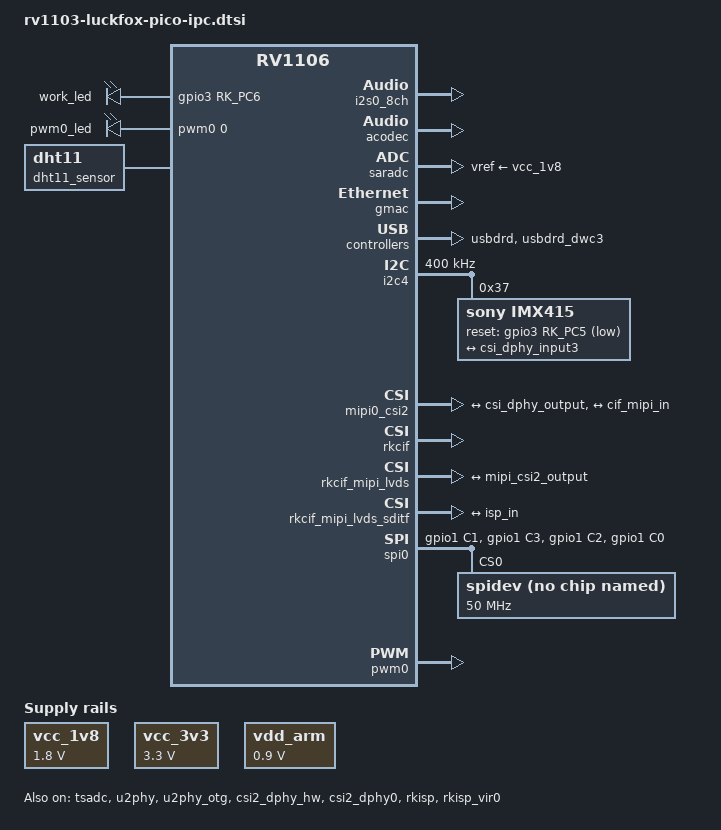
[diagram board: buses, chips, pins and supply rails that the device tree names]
// SPDX-License-Identifier: (GPL-2.0+ OR MIT)
/*
 * Copyright (c) 2022 Rockchip Electronics Co., Ltd.
 */
#include "rv1106-amp.dtsi"
#include <dt-bindings/pwm/pwm.h>

/ {
	chosen {
		bootargs = "earlycon=uart8250,mmio32,0xff4c0000 console=ttyFIQ0 root=/dev/mmcblk1p7 rootwait snd_soc_core.prealloc_buffer_size_kbytes=16 coherent_pool=0";
	};

	acodec_sound: acodec-sound {
		compatible = "simple-audio-card";
		simple-audio-card,name = "rv-acodec";
		simple-audio-card,format = "i2s";
		simple-audio-card,mclk-fs = <256>;
		simple-audio-card,cpu {
			sound-dai = <&i2s0_8ch>;
		};
		simple-audio-card,codec {
			sound-dai = <&acodec>;
		};
	};

	vcc_1v8: vcc-1v8 {
		compatible = "regulator-fixed";
		regulator-name = "vcc_1v8";
		regulator-always-on;
		regulator-boot-on;
		regulator-min-microvolt = <1800000>;
		regulator-max-microvolt = <1800000>;
	};

	vcc_3v3: vcc-3v3 {
		compatible = "regulator-fixed";
		regulator-name = "vcc_3v3";
		regulator-always-on;
		regulator-boot-on;
		regulator-min-microvolt = <3300000>;
		regulator-max-microvolt = <3300000>;
	};

	vdd_arm: vdd-arm {
		compatible = "regulator-fixed";
		regulator-name = "vdd_arm";
		regulator-min-microvolt = <900000>;
		regulator-max-microvolt = <900000>;
		regulator-always-on;
		regulator-boot-on;
	};
	leds: leds {
		compatible = "gpio-leds";
		work_led: work{
			gpios = <&gpio3 RK_PC6 GPIO_ACTIVE_HIGH>;
			linux,default-trigger = "activity";
			default-state = "on";
		};
	};

	/* PWM0 drives the second LED on GPIO1_PA2. */
	pwm_leds: pwm-leds {
		compatible = "pwm-leds";

		pwm0_led: pwm0-led {
			label = "pwm0_led";
			/* The SDK PWM header lacks PWM_POLARITY_NORMAL; normal is 0. */
			pwms = <&pwm0 0 1000000 0>;
			max-brightness = <255>;
			default-state = "off";
		};
	};

	// DHT11
	dht11_sensor {
		compatible = "dht11";
		pinctrl-names = "rockchip,camera_default";
		pinctrl-0 = <&gpio1_pc7>;

		dht11@1 {
			gpios = <&gpio1 RK_PC7 GPIO_ACTIVE_HIGH>;
			label = "dht11";
			linux,default-trigger = "humidity";
		};
	};
};

/***************************** AUDIO ********************************/
&i2s0_8ch {
	#sound-dai-cells = <0>;
	status = "okay";
};

&acodec {
	#sound-dai-cells = <0>;
	pa-ctl-gpios = <&gpio1 RK_PA1 GPIO_ACTIVE_HIGH>;
	status = "okay";
};

/***************************** CPU ********************************/
&cpu0 {
	cpu-supply = <&vdd_arm>;
};

/***************************** ADC ********************************/
&saradc {
	status = "okay";
	vref-supply = <&vcc_1v8>;
};
&tsadc {
	status = "okay";
};


/***************************** ETHERNET *****************************/
&gmac {
	/* Use the SoC-integrated PHY for wired Ethernet. */
	status = "okay";
};

/***************************** USB *********************************/
&u2phy {
	status = "okay";
};

&u2phy_otg {
	status = "okay";
};

&usbdrd {
	status = "okay";
};

&usbdrd_dwc3 {
	extcon = <&u2phy>;
	status = "okay";
};

/*****************************CSI ********************************/
/*
 * The input endpoints below represent the camera profiles supported by this
 * board's CSI graph. The build selects the attached sensor in the I2C nodes;
 * for the current IMX415 profile, its two-lane link is routed through input 3.
 */
&csi2_dphy_hw {
	status = "okay";
};

&csi2_dphy0 {
	status = "okay";

	ports {
		#address-cells = <1>;
		#size-cells = <0>;

		port@0 {
			reg = <0>;
			#address-cells = <1>;
			#size-cells = <0>;

			csi_dphy_input0: endpoint@0 {
				reg = <0>;
				remote-endpoint = <&sc3336_out>;
				data-lanes = <1 2>;
			};

			csi_dphy_input1: endpoint@1 {
				reg = <1>;
				remote-endpoint = <&sc4336_out>;
				data-lanes = <1 2>;
			};

			csi_dphy_input2: endpoint@2 {
				reg = <2>;
				remote-endpoint = <&sc530ai_out>;
				data-lanes = <1 2>;
			};

			csi_dphy_input3: endpoint@3 {
				reg = <3>;
				remote-endpoint = <&imx415_out>;
				/* The IMX415 profile uses D-PHY input 3 and two CSI-2 lanes. */
				data-lanes = <1 2>;
			};
		};

		port@1 {
			reg = <1>;
			#address-cells = <1>;
			#size-cells = <0>;

			csi_dphy_output: endpoint@0 {
				reg = <0>;
				remote-endpoint = <&mipi_csi2_input>;
			};
		};
	};
};

&i2c4 {
	status = "okay";
	clock-frequency = <400000>;
	pinctrl-names = "default";
	pinctrl-0 = <&i2c4m2_xfer>;

	/*
	 * These nodes describe alternative camera-module builds on the shared
	 * camera connector. The SC sensors share I2C address 0x30 and use the
	 * SoC-generated MIPI reference clock; the IMX415 is at 0x37 and uses its
	 * module oscillator. Enable the node matching the attached module. The
	 * sensor endpoints map to separate D-PHY inputs; IMX415 uses input 3.
	 */
	sc3336: sc3336@30 {
		compatible = "smartsens,sc3336";
		status = "disabled";
		reg = <0x30>;
		clocks = <&cru MCLK_REF_MIPI0>;
		clock-names = "xvclk";
		pwdn-gpios = <&gpio3 RK_PC5 GPIO_ACTIVE_HIGH>;
		pinctrl-names = "default";
		pinctrl-0 = <&mipi_refclk_out0>;
		rockchip,camera-module-index = <0>;
		rockchip,camera-module-facing = "back";
		rockchip,camera-module-name = "CMK-OT2119-PC1";
		rockchip,camera-module-lens-name = "30IRC-F16";
		port {
			sc3336_out: endpoint {
				remote-endpoint = <&csi_dphy_input0>;
				data-lanes = <1 2>;
			};
		};
	};

	sc4336: sc4336@30 {
		compatible = "smartsens,sc4336";
		status = "disabled";
		reg = <0x30>;
		clocks = <&cru MCLK_REF_MIPI0>;
		clock-names = "xvclk";
		pwdn-gpios = <&gpio3 RK_PC5 GPIO_ACTIVE_HIGH>;
		pinctrl-names = "default";
		pinctrl-0 = <&mipi_refclk_out0>;
		rockchip,camera-module-index = <0>;
		rockchip,camera-module-facing = "back";
		rockchip,camera-module-name = "OT01";
		rockchip,camera-module-lens-name = "40IRC_F16";
		port {
			sc4336_out: endpoint {
				remote-endpoint = <&csi_dphy_input1>;
				data-lanes = <1 2>;
			};
		};
	};

	sc530ai: sc530ai@30 {
		compatible = "smartsens,sc530ai";
		status = "disabled";
		reg = <0x30>;
		clocks = <&cru MCLK_REF_MIPI0>;
		clock-names = "xvclk";
		pwdn-gpios = <&gpio3 RK_PC5 GPIO_ACTIVE_HIGH>;
		pinctrl-names = "default";
		pinctrl-0 = <&mipi_refclk_out0>;
		rockchip,camera-module-index = <0>;
		rockchip,camera-module-facing = "back";
		rockchip,camera-module-name = "CMK-OT2115-PC1";
		rockchip,camera-module-lens-name = "30IRC-F16";
		port {
			sc530ai_out: endpoint {
				remote-endpoint = <&csi_dphy_input2>;
				data-lanes = <1 2>;
			};
		};
	};

	imx415: imx415@37 {
		compatible = "sony,imx415";
		status = "okay";
		reg = <0x37>;
		/* PC5 is the sensor's active-low reset; PC4 below is the shutter line. */
		reset-gpios = <&gpio3 RK_PC5 GPIO_ACTIVE_LOW>;
		pinctrl-names = "default";
		/*
		 * This module has an onboard oscillator, so deliberately omit the
		 * "clocks" / "clock-names" properties used by the SC sensor nodes.
		 * The IMX415 driver treats xvclk as optional and does not try to
		 * enable a SoC clock when it is absent.
		 *
		 * GPIO3_C4 means GPIO bank 3, port C, pin 4 (RK_PC4 in the pinctrl
		 * binding). It is muxed as a plain GPIO for the module's night-mode
		 * shutter switch (Linux global GPIO 116 on this SoC). The driver
		 * does not own or toggle it; userspace controls the shutter.
		 */
		pinctrl-0 = <&gpio3_c4>;
		rockchip,camera-module-index = <0>;
		rockchip,camera-module-facing = "back";
		/*
		 * rkaiq selects the IQ JSON using
		 * <sensor>_<camera-module-name>_<camera-module-lens-name>.json.
		 * Keep these exact identifiers from the working camera configuration:
		 * the long lens string is part of the IQ filename, not a typo to tidy.
		 * Together they select
		 * imx415_CMK-OT2022-PX1_IR0147-36IRC-8M-F20.json.
		 */
		rockchip,camera-module-name = "CMK-OT2022-PX1";
		rockchip,camera-module-lens-name = "IR0147-36IRC-8M-F20";
		port {
			imx415_out: endpoint {
				/* Matches the driver's two-lane mode table and D-PHY input 3. */
				remote-endpoint = <&csi_dphy_input3>;
				data-lanes = <1 2>;
			};
		};
	};
};

&mipi0_csi2 {
	status = "okay";

	ports {
		#address-cells = <1>;
		#size-cells = <0>;

		port@0 {
			reg = <0>;
			#address-cells = <1>;
			#size-cells = <0>;

			mipi_csi2_input: endpoint@1 {
				reg = <1>;
				remote-endpoint = <&csi_dphy_output>;
			};
		};

		port@1 {
			reg = <1>;
			#address-cells = <1>;
			#size-cells = <0>;

			mipi_csi2_output: endpoint@0 {
				reg = <0>;
				remote-endpoint = <&cif_mipi_in>;
			};
		};
	};
};

&rkcif {
	status = "okay";
};

&rkcif_mipi_lvds {
	status = "okay";

	pinctrl-names = "default";
	pinctrl-0 = <&mipi_pins>;
	port {
		/* MIPI CSI-2 endpoint */
		cif_mipi_in: endpoint {
			remote-endpoint = <&mipi_csi2_output>;
		};
	};
};

&rkcif_mipi_lvds_sditf {
	status = "okay";

	port {
		/* MIPI CSI-2 endpoint */
		mipi_lvds_sditf: endpoint {
			remote-endpoint = <&isp_in>;
		};
	};
};

&rkisp {
	status = "okay";
};

&rkisp_vir0 {
	status = "okay";

	port@0 {
		isp_in: endpoint {
			remote-endpoint = <&mipi_lvds_sditf>;
		};
	};
};


/***************************** PINCTRL ********************************/
// SPI
&spi0 {
	pinctrl-0 = <&spi0m0_clk &spi0m0_miso &spi0m0_mosi &spi0m0_cs0>;
	#address-cells = <1>;
	#size-cells = <0>;

	spidev@0 {
		compatible = "rockchip,spidev";
		spi-max-frequency = <50000000>;
		reg = <0>;
	};
	/*
	 * ST7789 display disabled while GPIO1_PA2 is used by PWM0.
	 * The display D/C signal was connected to GPIO1_PA2.
	 */
	/*
	fbtft@0 {
		compatible = "sitronix,st7789v";
		reg = <0>;
		spi-max-frequency = <20000000>;
		fps = <30>;
		buswidth = <8>;
		debug = <0x7>;
		led-gpios = <&gpio0 RK_PA4 GPIO_ACTIVE_HIGH>;//BL
		dc-gpios = <&gpio1 RK_PA2 GPIO_ACTIVE_HIGH>;//DC
		reset-gpios = <&gpio1 RK_PC3 GPIO_ACTIVE_LOW>;//RES
	};
	*/
};
// I2C
&i2c3 {
	pinctrl-0 = <&i2c3m1_xfer>;
};
&i2c0 {
	pinctrl-0 = <&i2c0m2_xfer>;
};
// UART
&uart3 {
	pinctrl-0 = <&uart3m1_xfer>;
};
&uart4 {
	pinctrl-0 = <&uart4m1_xfer>;
};
&uart5 {
	pinctrl-0 = <&uart5m0_xfer>;
};

// PWM
// PWM0 M0 uses GPIO1_PA2, which is connected to the second board LED.
&pwm0 {
	status = "okay";
	pinctrl-names = "active";
	pinctrl-0 = <&pwm0m0_pins>;
};
&pwm1 {
	pinctrl-0 = <&pwm1m0_pins>;
};
&pwm2 {
	pinctrl-0 = <&pwm2m2_pins>;
};
&pwm3 {
	pinctrl-0 = <&pwm3m2_pins>;
};
&pwm4 {
	pinctrl-0 = <&pwm4m2_pins>;
};
&pwm5 {
	pinctrl-0 = <&pwm5m2_pins>;
};
&pwm6 {
	pinctrl-0 = <&pwm6m2_pins>;
};
&pwm8 {
	pinctrl-0 = <&pwm8m0_pins &pwm8m1_pins>;
};
&pwm9 {
	pinctrl-0 = <&pwm9m0_pins &pwm9m1_pins>;
};
&pwm10 {
	pinctrl-0 = <&pwm10m0_pins &pwm10m1_pins>;
};
&pwm11 {
	pinctrl-0 = <&pwm11m0_pins &pwm11m1_pins>;
};

&pinctrl {
	spi0 {
		spi0m0_clk: spi0m0-clk {
			rockchip,pins = <1 RK_PC1 4 &pcfg_pull_none>;
		};
		spi0m0_mosi: spi0m0-mosi {
			rockchip,pins = <1 RK_PC2 6 &pcfg_pull_none>;
		};
		spi0m0_miso: spi0m0-miso {
			rockchip,pins = <1 RK_PC3 6 &pcfg_pull_none>;
		};
		spi0m0_cs0: spi0m0-cs0 {
			rockchip,pins = <1 RK_PC0 4 &pcfg_pull_none>;
		};
	};

	gpio1-pc7 {
		gpio1_pc7: gpio1-pc7 {
			rockchip,pins = <1 RK_PC7 RK_FUNC_GPIO &pcfg_pull_none>;
		};
	};

	gpio3 {
		gpio3_c4: gpio3-c4 {
			/*
			 * GPIO3_C4 is bank 3, port C, pin 4, written RK_PC4 below. Select
			 * its GPIO mux with no pull. It used to carry the SC-camera MIPI
			 * reference clock; IMX415 has its own oscillator, so PC4 can serve
			 * as the night-mode shutter line. The sensor driver does not request
			 * it; userspace can export GPIO 116 and set its output state.
			 */
			rockchip,pins = <3 RK_PC4 RK_FUNC_GPIO &pcfg_pull_none>;
		};
	};
};
